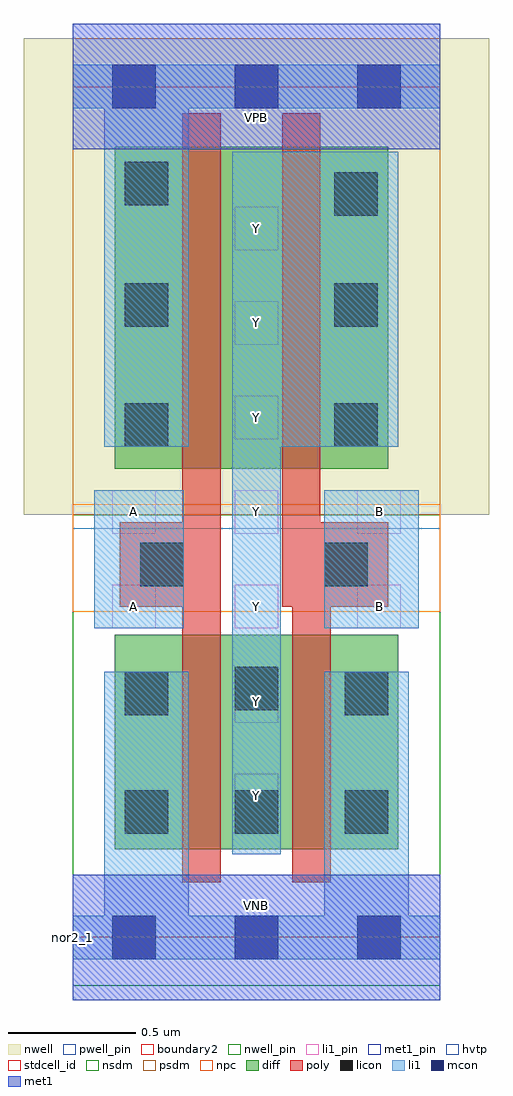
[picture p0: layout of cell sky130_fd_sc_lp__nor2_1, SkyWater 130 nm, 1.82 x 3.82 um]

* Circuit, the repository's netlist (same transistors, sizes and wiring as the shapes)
* Copyright 2020 The SkyWater PDK Authors
*
* Licensed under the Apache License, Version 2.0 (the "License");
* you may not use this file except in compliance with the License.
* You may obtain a copy of the License at
*
*     https://www.apache.org/licenses/LICENSE-2.0
*
* Unless required by applicable law or agreed to in writing, software
* distributed under the License is distributed on an "AS IS" BASIS,
* WITHOUT WARRANTIES OR CONDITIONS OF ANY KIND, either express or implied.
* See the License for the specific language governing permissions and
* limitations under the License.
*
* SPDX-License-Identifier: Apache-2.0

.SUBCKT sky130_fd_sc_lp__nor2_1 A B VGND VNB VPB VPWR Y
*.PININFO A:I B:I VGND:I VNB:I VPB:I VPWR:I Y:O
MMP0 VPWR A sndPA VPB sky130_fd_pr__pfet_01v8_hvt m=1 w=1.26U l=0.15U mult=1 sa=0.265
+ sb=0.265 sd=0.28 area=0.063 perim=1.14
MMP1 sndPA B Y VPB sky130_fd_pr__pfet_01v8_hvt m=1 w=1.26U l=0.15U mult=1 sa=0.265
+ sb=0.265 sd=0.28 area=0.063 perim=1.14
MMN0 Y A VGND VNB sky130_fd_pr__nfet_01v8 m=1 w=0.84U l=0.15U mult=1 sa=0.265 sb=0.265
+ sd=0.28 area=0.063 perim=1.14
MMN1 Y B VGND VNB sky130_fd_pr__nfet_01v8 m=1 w=0.84U l=0.15U mult=1 sa=0.265 sb=0.265
+ sd=0.28 area=0.063 perim=1.14
.ENDS sky130_fd_sc_lp__nor2_1

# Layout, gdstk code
import gdstk
lib = gdstk.Library(unit=1e-6, precision=1e-09)
def R(c, l, rs):  # rectangles x0, y0, x1, y1
    for r in rs: c.add(gdstk.rectangle(r[:2], r[2:], *l))
def A(c, l, x, y, w, h, nx, ny, dx, dy):  # array of equal rectangles
    R(c, l, [(x+i*dx, y+j*dy, x+i*dx+w, y+j*dy+h) for i in range(nx) for j in range(ny)])
def P(c, l, *ps):  # polygons
    for p in ps: c.add(gdstk.Polygon(p, *l))
nwell_pin = (64, 16)
nwell = (64, 20)
diff = (65, 20)
poly = (66, 20)
licon = (66, 44)
li1_pin = (67, 16)
li1 = (67, 20)
mcon = (67, 44)
met1_pin = (68, 16)
met1 = (68, 20)
hvtp = (78, 44)
stdcell_id = (81, 4)
nsdm = (93, 44)
psdm = (94, 20)
npc = (95, 20)
pwell_pin = (122, 16)
boundary2 = (236, 0)

sky130_fd_sc_lp__nor2_1 = lib.new_cell('sky130_fd_sc_lp__nor2_1')
R(sky130_fd_sc_lp__nor2_1, nwell_pin, [(0,3.085,1.44,3.33)])
R(sky130_fd_sc_lp__nor2_1, nwell, [(-0.19,1.655,1.63,3.52)])
R(sky130_fd_sc_lp__nor2_1, diff, [(0.165,0.345,1.275,1.185), (0.165,1.835,1.235,3.095)])
P(sky130_fd_sc_lp__nor2_1, poly, [(0.58,3.225),(0.43,3.225),(0.43,1.625),(0.185,1.625),(0.185,1.295),(0.43,1.295),(0.43,0.215),(0.58,0.215)],
  [(1.235,1.625),(0.97,1.625),(0.97,3.225),(0.82,3.225),(0.82,1.295),(0.86,1.295),(0.86,0.215),(1.01,0.215),(1.01,1.295),(1.235,1.295)])
A(sky130_fd_sc_lp__nor2_1, licon, 0.205, 0.405, 0.17, 0.17, 3, 1, 0.43, 0)
R(sky130_fd_sc_lp__nor2_1, licon, [(0.205,0.87,0.375,1.04), (1.065,0.87,1.235,1.04), (0.635,0.89,0.805,1.06), (0.265,1.375,0.435,1.545), (0.985,1.375,1.155,1.545), (0.205,1.92,0.375,2.09), (1.025,1.92,1.195,2.09), (0.205,2.39,0.375,2.56), (1.025,2.39,1.195,2.56), (1.025,2.825,1.195,2.995), (0.205,2.865,0.375,3.035)])
A(sky130_fd_sc_lp__nor2_1, li1_pin, 0.155, 1.21, 0.17, 0.17, 3, 2, 0.48, 0.37)
A(sky130_fd_sc_lp__nor2_1, li1_pin, 0.635, 1.95, 0.17, 0.17, 1, 3, 0, 0.37)
R(sky130_fd_sc_lp__nor2_1, li1_pin, [(0.635,0.47,0.805,0.64), (0.635,0.84,0.805,1.01)])
R(sky130_fd_sc_lp__nor2_1, li1, [(0.085,1.21,0.435,1.75), (0.985,1.21,1.355,1.75)])
P(sky130_fd_sc_lp__nor2_1, li1, [(0.125,1.92),(0.125,3.245),(0,3.245),(0,3.415),(1.44,3.415),(1.44,3.245),(0.455,3.245),(0.455,1.92)],
  [(0.985,0.085),(0.985,1.04),(1.315,1.04),(1.315,0.085),(1.44,0.085),(1.44,-0.085),(0,-0.085),(0,0.085),(0.125,0.085),(0.125,1.04),(0.455,1.04),(0.455,0.085)],
  [(0.625,3.075),(1.275,3.075),(1.275,1.92),(0.815,1.92),(0.815,0.325),(0.625,0.325)])
A(sky130_fd_sc_lp__nor2_1, mcon, 0.155, -0.085, 0.17, 0.17, 3, 2, 0.48, 3.33)
R(sky130_fd_sc_lp__nor2_1, met1_pin, [(0,0,1.44,0.245), (0,3.085,1.44,3.33)])
R(sky130_fd_sc_lp__nor2_1, met1, [(0,-0.245,1.44,0.245), (0,3.085,1.44,3.575)])
R(sky130_fd_sc_lp__nor2_1, hvtp, [(0,1.6,1.44,3.33)])
R(sky130_fd_sc_lp__nor2_1, stdcell_id, [(0,0,1.44,3.33)])
R(sky130_fd_sc_lp__nor2_1, nsdm, [(0,-0.19,1.44,1.655)])
R(sky130_fd_sc_lp__nor2_1, psdm, [(0,1.655,1.44,3.52)])
R(sky130_fd_sc_lp__nor2_1, npc, [(0,1.275,1.44,1.695)])
R(sky130_fd_sc_lp__nor2_1, pwell_pin, [(0,0,1.44,0.245)])
R(sky130_fd_sc_lp__nor2_1, boundary2, [(0,0,1.44,3.33)])
sky130_fd_sc_lp__nor2_1.add(gdstk.Label('VNB', (0.72,0.123), layer=64, texttype=59))
sky130_fd_sc_lp__nor2_1.add(gdstk.Label('VPB', (0.72,3.208), layer=64, texttype=5))
sky130_fd_sc_lp__nor2_1.add(gdstk.Label('nor2_1', (0,0), layer=83, texttype=44))
sky130_fd_sc_lp__nor2_1.add(gdstk.Label('VPWR', (0.72,3.208), layer=68, texttype=5))
sky130_fd_sc_lp__nor2_1.add(gdstk.Label('VGND', (0.72,0.123), layer=68, texttype=5))
sky130_fd_sc_lp__nor2_1.add(gdstk.Label('A', (0.24,1.295), layer=67, texttype=5))
sky130_fd_sc_lp__nor2_1.add(gdstk.Label('A', (0.24,1.665), layer=67, texttype=5))
sky130_fd_sc_lp__nor2_1.add(gdstk.Label('Y', (0.72,0.555), layer=67, texttype=5))
sky130_fd_sc_lp__nor2_1.add(gdstk.Label('Y', (0.72,0.925), layer=67, texttype=5))
sky130_fd_sc_lp__nor2_1.add(gdstk.Label('Y', (0.72,1.295), layer=67, texttype=5))
sky130_fd_sc_lp__nor2_1.add(gdstk.Label('Y', (0.72,1.665), layer=67, texttype=5))
sky130_fd_sc_lp__nor2_1.add(gdstk.Label('Y', (0.72,2.035), layer=67, texttype=5))
sky130_fd_sc_lp__nor2_1.add(gdstk.Label('Y', (0.72,2.405), layer=67, texttype=5))
sky130_fd_sc_lp__nor2_1.add(gdstk.Label('Y', (0.72,2.775), layer=67, texttype=5))
sky130_fd_sc_lp__nor2_1.add(gdstk.Label('B', (1.2,1.295), layer=67, texttype=5))
sky130_fd_sc_lp__nor2_1.add(gdstk.Label('B', (1.2,1.665), layer=67, texttype=5))

lib.write_gds('sky130_fd_sc_lp__nor2_1.gds')
